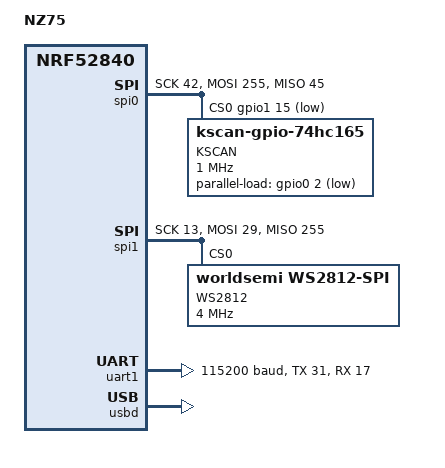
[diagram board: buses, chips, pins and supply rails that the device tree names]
/*
 * Copyright (c) 2022 The ZMK Contributors
 * SPDX-License-Identifier: MIT
 */

/dts-v1/;
#include <nordic/nrf52840_qiaa.dtsi>
#include <dt-bindings/led/led.h>

/ {
	model = "NZ75";
	compatible = "nz75";

	chosen {
		zephyr,code-partition = &code_partition;
		zephyr,sram = &sram0;
		zephyr,flash = &flash0;
		zephyr,console = &uart1;
		zmk,kscan = &kscan;
		zmk,matrix_transform = &default_transform;
		zmk,underglow = &led_strip;
	};
};

&gpio0 {
	status = "okay";
};

&gpio1 {
	status = "okay";
};

&spi0 {
	status = "okay";

	sck-pin = <42>; /* 1.10 */
	mosi-pin = <0xFF>; /* NOT USED */
	miso-pin = <45>; /* 1.13 */

	cs-gpios = <&gpio1 15 GPIO_ACTIVE_LOW>;

	kscan: kscan-gpio-74hc165@0 {
		compatible = "zmk,kscan-gpio-74hc165";
		label = "KSCAN";

		reg = <0>;
		spi-max-frequency = <1000000>;

		chain-length = <2>;
		scan-masks = [FF FF];
		parallel-load-gpios = <&gpio0 2 GPIO_ACTIVE_LOW>;
	};
};

&spi1 {
	status = "okay";

	sck-pin = <13>; /* NOT USED */
	mosi-pin = <29>; /* 0.29 */
	miso-pin = <0xFF>; /* NOT USED */

	led_strip: ws2812@0 {
		compatible = "worldsemi,ws2812-spi";
		label = "WS2812";

		reg = <0>;
		spi-max-frequency = <4000000>;

		chain-length = <16>;
		spi-one-frame = <0x70>;
		spi-zero-frame = <0x40>;
		color-mapping = <LED_COLOR_ID_GREEN LED_COLOR_ID_RED LED_COLOR_ID_BLUE>;
	};
};

&uart1 {
	status = "okay";
	current-speed = <115200>;
	tx-pin = <31>;
	rx-pin = <17>; /* NOT USED */
};

&usbd {
	status = "okay";
};

&flash0 {
	partitions {
		compatible = "fixed-partitions";
		#address-cells = <1>;
		#size-cells = <1>;

		code_partition: partition@0 {
			label = "code_partition";
			reg = <0x00000000 DT_SIZE_K(992)>;
		};

		storage_partition: partition@f8000 {
			label = "storage";
			reg = <0x000f8000 DT_SIZE_K(32)>;
		};
	};
};
